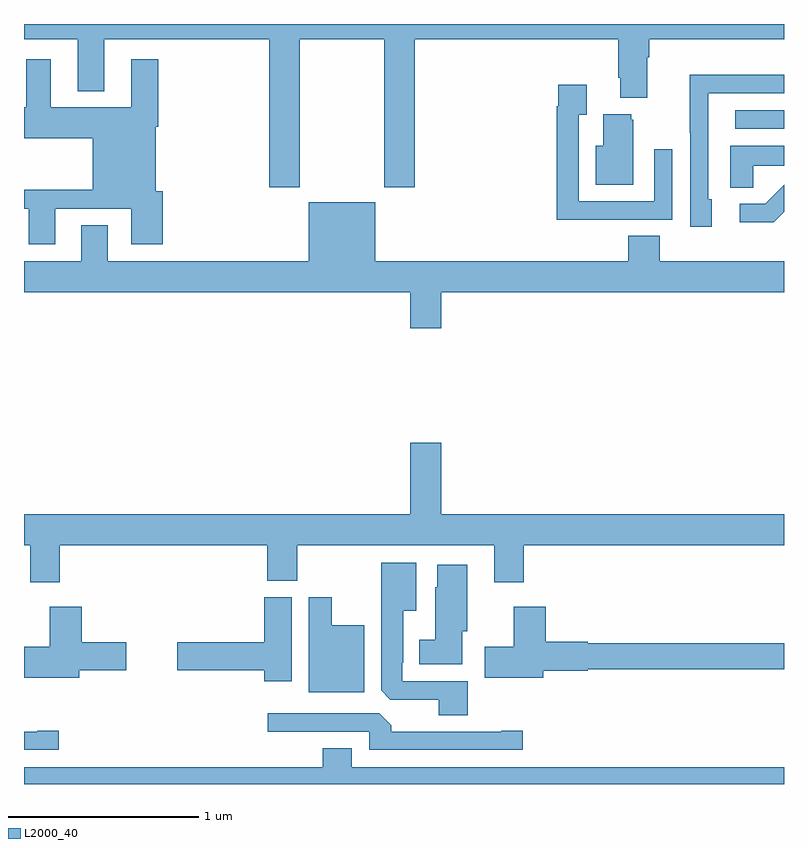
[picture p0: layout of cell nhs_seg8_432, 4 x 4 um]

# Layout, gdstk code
import gdstk
lib = gdstk.Library(unit=1e-6, precision=1e-09)
def R(c, l, rs):  # rectangles x0, y0, x1, y1
    for r in rs: c.add(gdstk.rectangle(r[:2], r[2:], *l))
def P(c, l, *ps):  # polygons
    for p in ps: c.add(gdstk.Polygon(p, *l))
L2000_40 = (2000, 40)

nhs_seg8_432 = lib.new_cell('nhs_seg8_432')
R(nhs_seg8_432, L2000_40, [(142.743,1129.35,143,1129.446)])
P(nhs_seg8_432, L2000_40, [(140.451,1129.82),(140.896,1129.82),(140.896,1129.041),(141.056,1129.041),(141.056,1129.82),(142.127,1129.82),(142.127,1129.618),(142.139,1129.618),(142.139,1129.511),(142.279,1129.511),(142.279,1129.724),(142.292,1129.724),(142.292,1129.82),(143,1129.82),(143,1129.9),(139,1129.9),(139,1129.82),(139.283,1129.82),(139.283,1129.547),(139.423,1129.547),(139.423,1129.82),(140.291,1129.82),(140.291,1129.041),(140.451,1129.041)],
  [(139.165,1128.927),(139.565,1128.927),(139.565,1128.741),(139.73,1128.741),(139.73,1129.02),(139.693,1129.02),(139.693,1129.358),(139.706,1129.358),(139.706,1129.714),(139.565,1129.714),(139.565,1129.462),(139.141,1129.462),(139.141,1129.714),(139.013,1129.714),(139.013,1129.462),(139,1129.462),(139,1129.298),(139.361,1129.298),(139.361,1129.028),(139,1129.028),(139,1128.927),(139.025,1128.927),(139.025,1128.741),(139.165,1128.741)],
  [(142.621,1128.978),(142.602,1128.978),(142.602,1129.536),(143,1129.536),(143,1129.632),(142.967,1129.632),(142.967,1129.634),(142.504,1129.634),(142.504,1129.327),(142.506,1129.327),(142.506,1128.834),(142.621,1128.834)],
  [(142.097,1128.87),(142.413,1128.87),(142.413,1129.24),(142.317,1129.24),(142.317,1128.966),(141.921,1128.966),(141.921,1129.423),(141.961,1129.423),(141.961,1129.579),(141.813,1129.579),(141.813,1129.466),(141.805,1129.466),(141.805,1128.869),(142.097,1128.869)],
  [(142.207,1129.395),(142.196,1129.395),(142.196,1129.426),(142.049,1129.426),(142.049,1129.258),(142.01,1129.258),(142.01,1129.055),(142.207,1129.055)],
  [(142.839,1129.154),(143,1129.154),(143,1129.258),(142.718,1129.258),(142.718,1129.039),(142.839,1129.039)],
  [(143,1128.912),(143,1129.053),(142.901,1128.954),(142.767,1128.954),(142.767,1128.857),(142.945,1128.857)],
  [(141.196,1128.488),(143,1128.488),(143,1128.652),(142.346,1128.652),(142.346,1128.785),(142.181,1128.785),(142.181,1128.652),(140.848,1128.652),(140.848,1128.961),(140.498,1128.961),(140.498,1128.652),(139.441,1128.652),(139.441,1128.842),(139.301,1128.842),(139.301,1128.652),(139,1128.652),(139,1128.488),(141.032,1128.488),(141.032,1128.3),(141.196,1128.3)],
  [(139.187,1127.156),(140.279,1127.156),(140.279,1126.969),(140.439,1126.969),(140.439,1127.156),(141.476,1127.156),(141.476,1126.962),(141.629,1126.962),(141.629,1127.156),(143,1127.156),(143,1127.32),(141.196,1127.32),(141.196,1127.695),(141.032,1127.695),(141.032,1127.32),(139,1127.32),(139,1127.156),(139.034,1127.156),(139.034,1126.962),(139.187,1126.962)],
  [(141.335,1126.44),(140.991,1126.44),(140.991,1126.537),(140.995,1126.537),(140.995,1126.811),(141.064,1126.811),(141.064,1127.065),(140.879,1127.065),(140.879,1126.393),(140.928,1126.344),(141.182,1126.344),(141.182,1126.261),(141.335,1126.261)],
  [(141.307,1126.704),(141.334,1126.704),(141.334,1127.053),(141.176,1127.053),(141.176,1126.935),(141.164,1126.935),(141.164,1126.66),(141.08,1126.66),(141.08,1126.529),(141.307,1126.529)],
  [(140.41,1126.884),(140.264,1126.884),(140.264,1126.646),(139.806,1126.646),(139.806,1126.499),(140.264,1126.499),(140.264,1126.44),(140.41,1126.44)],
  [(140.791,1126.735),(140.62,1126.735),(140.62,1126.882),(140.498,1126.882),(140.498,1126.382),(140.791,1126.382)],
  [(141.733,1126.496),(141.966,1126.496),(141.966,1126.504),(143,1126.504),(143,1126.64),(141.966,1126.64),(141.966,1126.648),(141.746,1126.648),(141.746,1126.834),(141.578,1126.834),(141.578,1126.623),(141.426,1126.623),(141.426,1126.46),(141.733,1126.46)],
  [(139.291,1126.499),(139.537,1126.499),(139.537,1126.646),(139.304,1126.646),(139.304,1126.834),(139.136,1126.834),(139.136,1126.623),(139,1126.623),(139,1126.46),(139.291,1126.46)],
  [(141.625,1126.181),(141.512,1126.181),(141.512,1126.176),(140.933,1126.176),(140.933,1126.21),(140.871,1126.272),(140.283,1126.272),(140.283,1126.176),(140.817,1126.176),(140.817,1126.08),(141.625,1126.08)],
  [(139.183,1126.181),(139.07,1126.181),(139.07,1126.176),(139,1126.176),(139,1126.08),(139.183,1126.08)],
  [(143,1125.988),(140.725,1125.988),(140.725,1126.087),(140.573,1126.087),(140.573,1125.988),(139,1125.988),(139,1125.9),(143,1125.9)])

lib.write_gds('nhs_seg8_432.gds')
